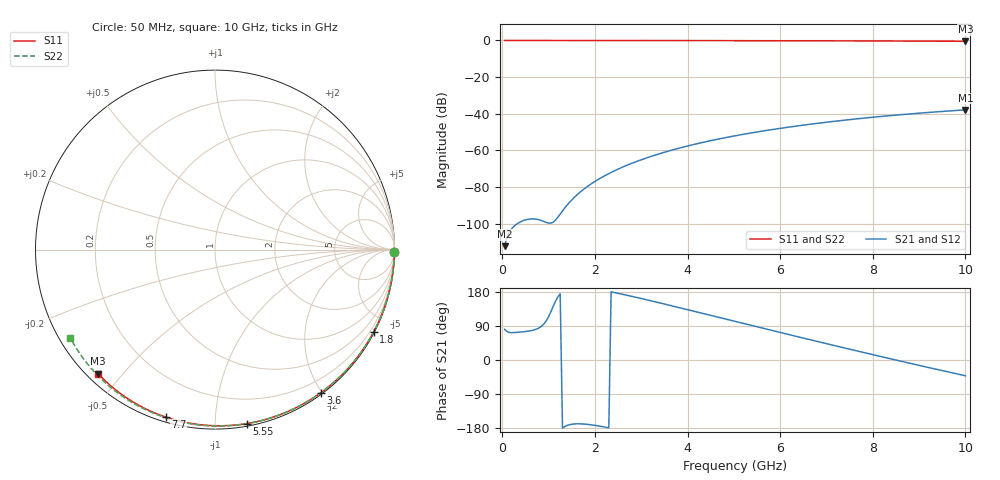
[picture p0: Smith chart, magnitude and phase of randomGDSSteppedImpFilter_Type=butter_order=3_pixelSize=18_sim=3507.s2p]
! freq	dB(S11)	phase(S11)	dB(S12)	phase(S12)
!  dB(S21)	phase(S21)	dB(S22)	phase(S22)
!S-par simulation data
#  GHz  S  DB  R 50
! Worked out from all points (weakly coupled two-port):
!   200 points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, 50 MHz to 10 GHz, reference 50 ohm
!   highest |S21| = -37.89 dB at 10 GHz (marker M1); lowest = -112.3 dB at 50 MHz (marker M2)
!   lowest |S11| = -0.4 dB at 10 GHz (marker M3), VSWR 38.81, Z = 1.53 - j21.6 ohm
!   |S11| at or under -10 dB: nowhere
!   |S22| runs from -0.5 to 0.0 dB; largest |S21 - S12| = 0
!   S11 on the Smith chart (normalised r, x): 50 MHz: open; 1.8 GHz: 0.04, -4.12; 3.6 GHz: 0.02, -1.99; 5.55 GHz: 0.02, -1.20; 7.7 GHz: 0.02, -0.75; 10 GHz: 0.03, -0.43
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0.05  -0.00 -0.8  -112.29 81.0  -112.29 81.0  -0.00 -0.9
0.45  -0.01 -6.9  -98.35 74.4  -98.35 74.4  -0.01 -7.8
0.9  -0.02 -13.8  -98.83 95.5  -98.83 95.5  -0.02 -15.4
1.3  -0.02 -19.8  -93.05 -179.7  -93.05 -179.7  -0.03 -22.2
1.75  -0.03 -26.6  -81.37 -168.9  -81.37 -168.9  -0.04 -29.7
1.8  -0.03 -27.3  -80.40 -169.4  -80.40 -169.4  -0.04 -30.5
1.85  -0.04 -28.1  -79.48 -170.0  -79.48 -170.0  -0.04 -31.4
2.05  -0.04 -31.0  -76.17 -173.5  -76.17 -173.5  -0.04 -34.7
2.2  -0.04 -33.2  -74.01 -176.6  -74.01 -176.6  -0.05 -37.2
2.55  -0.05 -38.4  -69.66 174.7  -69.66 174.7  -0.06 -42.9
2.95  -0.06 -44.2  -65.59 163.7  -65.59 163.7  -0.06 -49.3
3.4  -0.07 -50.6  -61.78 150.7  -61.78 150.7  -0.08 -56.4
3.6  -0.07 -53.4  -60.29 144.8  -60.29 144.8  -0.08 -59.6
4.3  -0.09 -63.1  -55.81 123.8  -55.81 123.8  -0.10 -70.3
5.05  -0.11 -73.2  -51.93 101.2  -51.93 101.2  -0.13 -81.4
5.55  -0.13 -79.7  -49.74 86.1  -49.74 86.1  -0.15 -88.7
6.1  -0.15 -86.8  -47.61 69.7  -47.61 69.7  -0.17 -96.4
6.7  -0.18 -94.3  -45.57 51.9  -45.57 51.9  -0.20 -104.8
7.7  -0.24 -106.5  -42.68 22.7  -42.68 22.7  -0.27 -118.3
8.35  -0.29 -114.2  -41.09 4.1  -41.09 4.1  -0.33 -126.9
9.2  -0.36 -124.1  -39.30 -19.7  -39.30 -19.7  -0.41 -138.1
10  -0.45 -133.3  -37.89 -41.6  -37.89 -41.6  -0.50 -148.6
